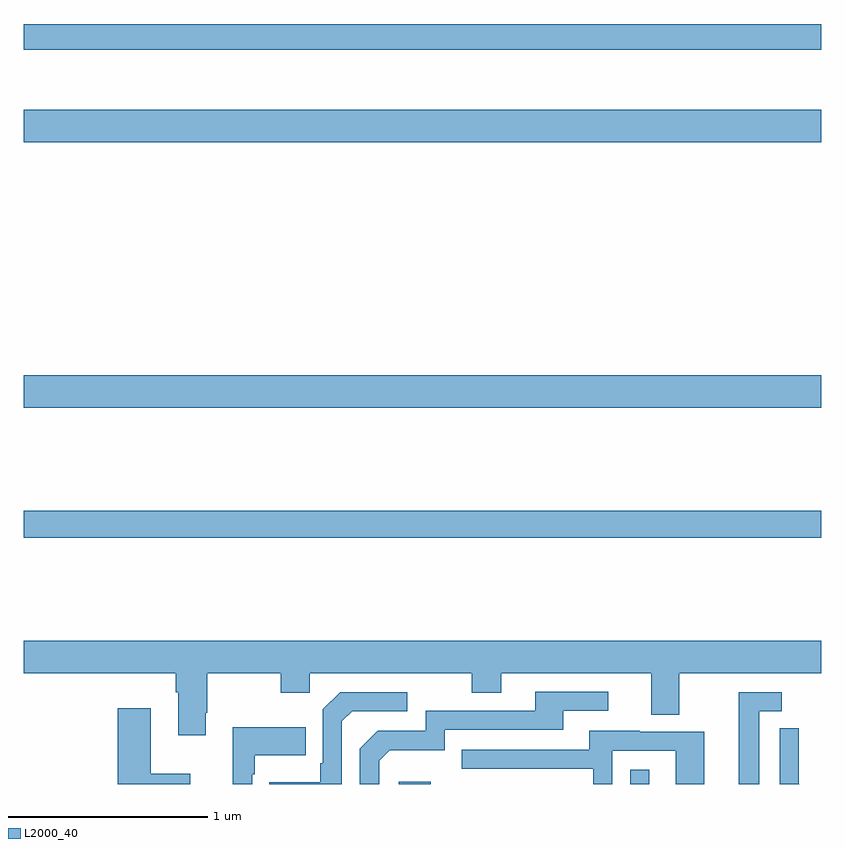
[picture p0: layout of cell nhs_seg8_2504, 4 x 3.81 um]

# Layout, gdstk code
import gdstk
lib = gdstk.Library(unit=1e-6, precision=1e-09)
def R(c, l, rs):  # rectangles x0, y0, x1, y1
    for r in rs: c.add(gdstk.rectangle(r[:2], r[2:], *l))
def P(c, l, *ps):  # polygons
    for p in ps: c.add(gdstk.Polygon(p, *l))
L2000_40 = (2000, 40)

nhs_seg8_2504 = lib.new_cell('nhs_seg8_2504')
R(nhs_seg8_2504, L2000_40, [(268.881,1159.9,269.042,1159.912), (270.042,1159.9,270.139,1159.972), (267,1161.136,271,1161.272), (267,1161.788,271,1161.952), (267,1163.12,271,1163.284), (267,1163.586,271,1163.714)])
P(nhs_seg8_2504, L2000_40, [(267.913,1160.257),(267.921,1160.257),(267.921,1160.456),(268.288,1160.456),(268.288,1160.357),(268.434,1160.357),(268.434,1160.456),(269.248,1160.456),(269.248,1160.357),(269.395,1160.357),(269.395,1160.456),(270.149,1160.456),(270.149,1160.248),(270.289,1160.248),(270.289,1160.456),(271,1160.456),(271,1160.62),(267,1160.62),(267,1160.456),(267.761,1160.456),(267.761,1160.36),(267.773,1160.36),(267.773,1160.145),(267.913,1160.145)],
  [(268.782,1160.016),(268.835,1160.069),(269.112,1160.069),(269.112,1160.172),(269.707,1160.172),(269.707,1160.268),(269.932,1160.268),(269.932,1160.364),(269.567,1160.364),(269.567,1160.268),(269.016,1160.268),(269.016,1160.166),(268.776,1160.166),(268.686,1160.076),(268.686,1159.9),(268.782,1159.9)],
  [(268.596,1160.214),(268.647,1160.265),(268.924,1160.265),(268.924,1160.361),(268.587,1160.361),(268.5,1160.274),(268.5,1160.005),(268.488,1160.005),(268.488,1159.909),(268.231,1159.909),(268.231,1159.9),(268.596,1159.9)],
  [(270.691,1160.265),(270.802,1160.265),(270.802,1160.361),(270.587,1160.361),(270.587,1159.9),(270.691,1159.9)],
  [(267.835,1159.951),(267.637,1159.951),(267.637,1160.281),(267.47,1160.281),(267.47,1159.9),(267.835,1159.9)],
  [(268.146,1159.949),(268.159,1159.949),(268.159,1160.045),(268.415,1160.045),(268.415,1160.185),(268.049,1160.185),(268.049,1159.9),(268.146,1159.9)],
  [(270.887,1159.904),(270.887,1160.026),(270.888,1160.026),(270.888,1160.18),(270.792,1160.18),(270.792,1159.9),(270.891,1159.9)],
  [(269.952,1160.067),(270.27,1160.067),(270.27,1159.9),(270.415,1159.9),(270.415,1160.163),(270.091,1160.163),(270.091,1160.167),(269.837,1160.167),(269.837,1160.073),(269.197,1160.073),(269.197,1159.977),(269.856,1159.977),(269.856,1159.9),(269.952,1159.9)])

lib.write_gds('nhs_seg8_2504.gds')
